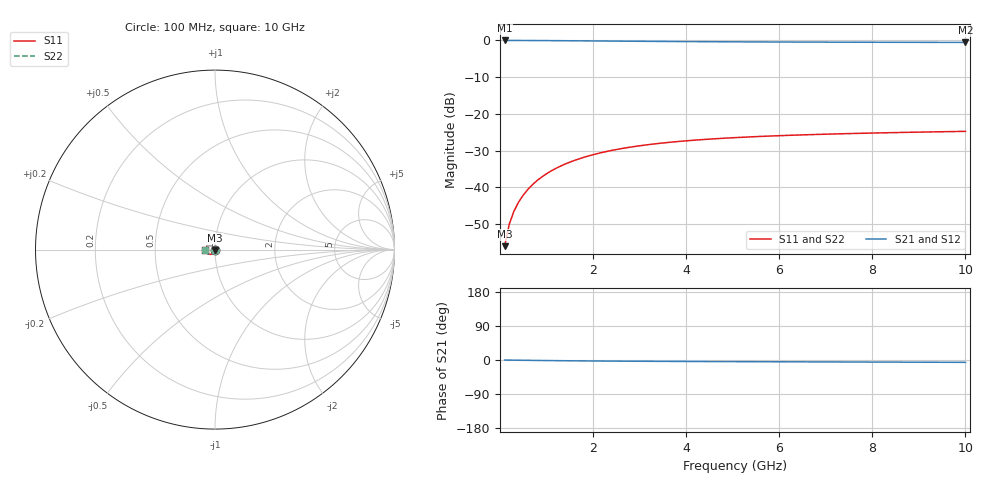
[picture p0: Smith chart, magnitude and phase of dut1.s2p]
! Touchstone file exported from HFSS 2024.1.0
!  File:  C:/UserFiles/LocalFiles/RDL_TSV_Batchsim/temp_TSV1_1_1779367263.aedt
!  Generated:  08:47:59 PM May 21, 2026
!  Design:  TSV1
!  Project:  temp_TSV1_1_1779367263
!  Setup:  Setup1
!  Solution:  Sweep
! Variables:
!  dtsv = 10.61um
!  hbump = 3um
!  htsv = 98.44um
!  lrdl = 252.1521522um
!  p = 40
!  p1 = 49.97um
!  t = 500um
!  trdl = 3um
!  wrdl = 24.89489489um
# GHz S MA R 50.000000
! Terminal data exported
! Port[1] = TSV22_T1
! Port[2] = TSV22_T2
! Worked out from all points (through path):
!   100 points, 100 MHz to 10 GHz, reference 50 ohm
!   highest |S21| = 0.00 dB at 100 MHz (marker M1); lowest = -0.5 dB at 10 GHz (marker M2)
!   lowest |S11| = -56.0 dB at 100 MHz (marker M3), VSWR 1.00, Z = 50 - j0.158 ohm
!   |S11| at or under -10 dB: start of sweep to end of sweep
!   |S22| runs from -56.0 to -24.8 dB; largest |S21 - S12| = 3.2e-15
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0.1  0.001582 -86.4  0.9998 -0.2  0.9998 -0.2  0.001582 -86.4
! Gamma 0 0 0 0
! Port Impedance 50 0 50 0
0.2  0.003153 -90.7  0.9996 -0.3  0.9996 -0.3  0.003153 -90.7
0.3  0.004724 -93.3  0.9994 -0.5  0.9994 -0.5  0.004724 -93.3
0.4  0.006289 -95.4  0.999 -0.6  0.999 -0.6  0.006289 -95.4
0.5  0.007844 -97.4  0.9986 -0.8  0.9986 -0.8  0.007844 -97.4
0.6  0.009383 -99.4  0.9981 -0.9  0.9981 -0.9  0.009383 -99.4
0.7  0.0109 -101.2  0.9975 -1.0  0.9975 -1.0  0.0109 -101.2
0.8  0.0124 -103.0  0.9968 -1.2  0.9968 -1.2  0.0124 -103.0
0.9  0.01387 -104.8  0.996 -1.3  0.996 -1.3  0.01387 -104.8
1.1  0.01672 -108.3  0.9944 -1.6  0.9944 -1.6  0.01672 -108.3
1.4  0.02075 -113.2  0.9915 -1.9  0.9915 -1.9  0.02075 -113.2
1.6  0.02325 -116.3  0.9894 -2.2  0.9894 -2.2  0.02325 -116.3
1.8  0.02561 -119.3  0.9872 -2.4  0.9872 -2.4  0.02561 -119.3
2.1  0.02887 -123.5  0.9839 -2.7  0.9839 -2.7  0.02887 -123.5
2.5  0.03272 -128.8  0.9794 -3.0  0.9794 -3.0  0.03272 -128.8
2.9  0.03604 -133.5  0.9752 -3.3  0.9752 -3.3  0.03604 -133.5
3.4  0.03954 -138.9  0.9702 -3.6  0.9702 -3.6  0.03955 -138.9
4.2  0.04398 -146.3  0.9634 -4.0  0.9634 -4.0  0.04398 -146.3
5.1  0.0477 -153.2  0.9573 -4.4  0.9573 -4.4  0.0477 -153.2
6.7  0.05227 -163.1  0.9495 -5.0  0.9495 -5.0  0.05227 -163.1
8.4  0.05553 -171.5  0.944 -5.6  0.944 -5.6  0.05553 -171.5
10  0.05783 -178.0  0.9405 -6.2  0.9405 -6.2  0.05783 -178.0
